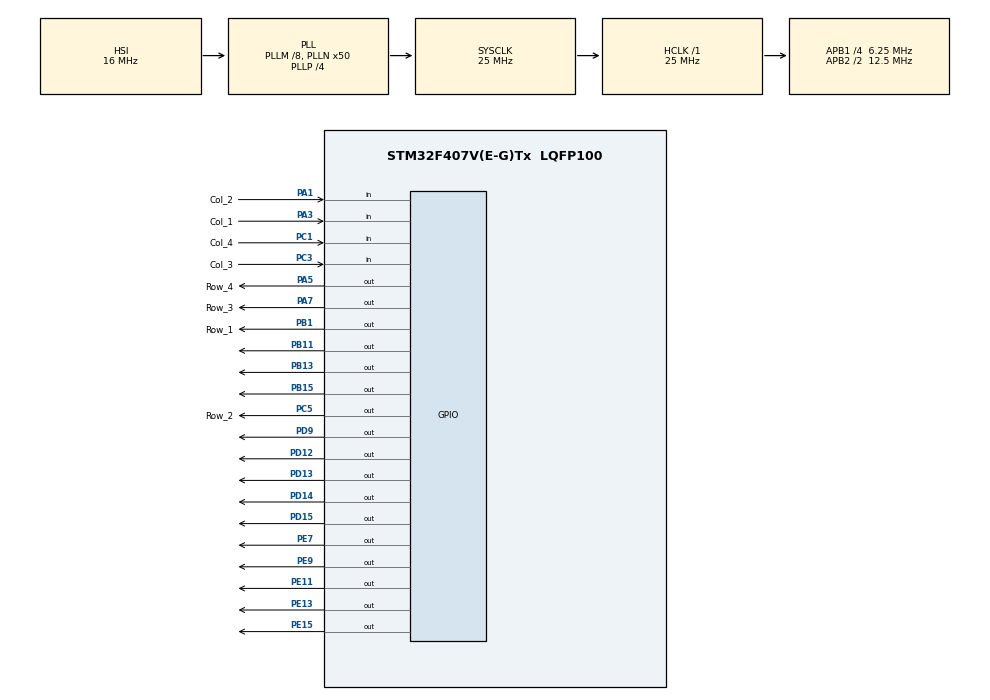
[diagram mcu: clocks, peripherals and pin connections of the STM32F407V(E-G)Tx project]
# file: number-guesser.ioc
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Mcu.Family=STM32F4
Mcu.Name=STM32F407V(E-G)Tx
Mcu.Package=LQFP100
NVIC.PriorityGroup=NVIC_PRIORITYGROUP_0
PA1.GPIO_Label=Col_2
PA1.GPIO_PuPd=GPIO_PULLDOWN
PA1.Signal=GPIO_Input
PA3.GPIO_Label=Col_1
PA3.GPIO_PuPd=GPIO_PULLDOWN
PA3.Signal=GPIO_Input
PA5.GPIO_Label=Row_4
PA5.Signal=GPIO_Output
PA7.GPIO_Label=Row_3
PA7.Signal=GPIO_Output
PB1.GPIO_Label=Row_1
PB1.Signal=GPIO_Output
PB11.Signal=GPIO_Output
PB13.Signal=GPIO_Output
PB15.Signal=GPIO_Output
PC1.GPIO_Label=Col_4
PC1.GPIO_PuPd=GPIO_PULLDOWN
PC1.Signal=GPIO_Input
PC3.GPIO_Label=Col_3
PC3.GPIO_PuPd=GPIO_PULLDOWN
PC3.Signal=GPIO_Input
PC5.GPIO_Label=Row_2
PC5.Signal=GPIO_Output
PD12.Signal=GPIO_Output
PD13.Signal=GPIO_Output
PD14.Signal=GPIO_Output
PD15.Signal=GPIO_Output
PD9.Signal=GPIO_Output
PE11.Signal=GPIO_Output
PE13.Signal=GPIO_Output
PE15.Signal=GPIO_Output
PE7.Signal=GPIO_Output
PE9.Signal=GPIO_Output
ProjectManager.HeapSize=0x200
ProjectManager.StackSize=0x400
ProjectManager.TargetToolchain=CMake
RCC.48MHZClocksFreq_Value=14285714.285714285
RCC.AHBFreq_Value=25000000
RCC.APB1CLKDivider=RCC_HCLK_DIV4
RCC.APB1Freq_Value=6250000
RCC.APB1TimFreq_Value=12500000
RCC.APB2CLKDivider=RCC_HCLK_DIV2
RCC.APB2Freq_Value=12500000
RCC.APB2TimFreq_Value=25000000
RCC.CortexFreq_Value=25000000
RCC.HCLKFreq_Value=25000000
RCC.HSE_VALUE=8000000
RCC.HSI_VALUE=16000000
RCC.LSE_VALUE=32768
RCC.PLLM=8
RCC.PLLN=50
RCC.PLLP=RCC_PLLP_DIV4
RCC.PLLQ=7
RCC.SYSCLKFreq_VALUE=25000000
RCC.SYSCLKSource=RCC_SYSCLKSOURCE_PLLCLK
RCC.VCOOutputFreq_Value=100000000
VP_RTC_VS_RTC_Activate.Mode=RTC_Enabled
board=STM32F407G-DISC1

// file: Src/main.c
/* USER CODE BEGIN Header */
/**
 ******************************************************************************
 * @file           : main.c
 * @brief          : Main program body
 ******************************************************************************
 * @attention
 *
 * Copyright (c) 2025 STMicroelectronics.
 * All rights reserved.
 *
 * This software is licensed under terms that can be found in the LICENSE file
 * in the root directory of this software component.
 * If no LICENSE file comes with this software, it is provided AS-IS.
 *
 ******************************************************************************
 */
/* USER CODE END Header */
#include "main.h"
#include "rtc.h"
#include "gpio.h"

/* USER CODE BEGIN Includes */

#include "game.h"
#include "lcd.h"
#include "dwt.h"
#include "keypad.h"

/* USER CODE END Includes */

void SystemClock_Config(void);

int main(void)
{

  /* MCU Configuration--------------------------------------------------------*/

  /* Reset of all peripherals, Initializes the Flash interface and the Systick. */
  HAL_Init();

  /* Configure the system clock */
  SystemClock_Config();

  /* Initialize all configured peripherals */
  MX_GPIO_Init();
  MX_RTC_Init();
  /* USER CODE BEGIN 2 */
  DWT_Init();
  LCD_Init();
  KEYPAD_Init();

  RTC_TimeTypeDef sTime;
  HAL_RTC_GetTime(&hrtc, &sTime, RTC_FORMAT_BIN);
  uint32_t seed = (sTime.Seconds << 16) | (sTime.Minutes << 8) | sTime.Hours;
  srand(seed);

  LCD_SendString("Initializing...");
  HAL_Delay(2025);
  LCD_Clear();  // Clear LCD before writing
  /* USER CODE END 2 */

  /* Infinite loop */
  while (1) {
    //KEYPAD_Debug();
    Game_Init();
    const game_state_t res = Game_Run(&game);
    if (res == NOT_STARTED) {
      LCD_Clear();
      LCD_SendString("Game restarting...");
      HAL_Delay(1100);
      LCD_Clear();
    }

    else if (res == GAME_OVER_WIN) {
      for (int i = 0; i < 20; i++) circleUserLED();
      continue;
    }
  }
}

void SystemClock_Config(void)
{
  RCC_OscInitTypeDef RCC_OscInitStruct = {0};
  RCC_ClkInitTypeDef RCC_ClkInitStruct = {0};

  /** Configure the main internal regulator output voltage
  */
  __HAL_RCC_PWR_CLK_ENABLE();
  __HAL_PWR_VOLTAGESCALING_CONFIG(PWR_REGULATOR_VOLTAGE_SCALE1);

  /** Initializes the RCC Oscillators according to the specified parameters
  * in the RCC_OscInitTypeDef structure.
  */
  RCC_OscInitStruct.OscillatorType = RCC_OSCILLATORTYPE_HSI|RCC_OSCILLATORTYPE_LSI;
  RCC_OscInitStruct.HSIState = RCC_HSI_ON;
  RCC_OscInitStruct.HSICalibrationValue = RCC_HSICALIBRATION_DEFAULT;
  RCC_OscInitStruct.LSIState = RCC_LSI_ON;
  RCC_OscInitStruct.PLL.PLLState = RCC_PLL_ON;
  RCC_OscInitStruct.PLL.PLLSource = RCC_PLLSOURCE_HSI;
  RCC_OscInitStruct.PLL.PLLM = 8;
  RCC_OscInitStruct.PLL.PLLN = 50;
  RCC_OscInitStruct.PLL.PLLP = RCC_PLLP_DIV4;
  RCC_OscInitStruct.PLL.PLLQ = 7;
  if (HAL_RCC_OscConfig(&RCC_OscInitStruct) != HAL_OK)
  {
    Error_Handler();
  }

  /** Initializes the CPU, AHB and APB buses clocks
  */
  RCC_ClkInitStruct.ClockType = RCC_CLOCKTYPE_HCLK|RCC_CLOCKTYPE_SYSCLK
                              |RCC_CLOCKTYPE_PCLK1|RCC_CLOCKTYPE_PCLK2;
  RCC_ClkInitStruct.SYSCLKSource = RCC_SYSCLKSOURCE_PLLCLK;
  RCC_ClkInitStruct.AHBCLKDivider = RCC_SYSCLK_DIV1;
  RCC_ClkInitStruct.APB1CLKDivider = RCC_HCLK_DIV4;
  RCC_ClkInitStruct.APB2CLKDivider = RCC_HCLK_DIV2;

  if (HAL_RCC_ClockConfig(&RCC_ClkInitStruct, FLASH_LATENCY_0) != HAL_OK)
  {
    Error_Handler();
  }
}

void Error_Handler(void)
{
  __disable_irq();
  while (1) {
  }
}

#ifdef  USE_FULL_ASSERT
/**
  * @brief  Reports the name of the source file and the source line number
  *         where the assert_param error has occurred.
  * @param  file: pointer to the source file name
  * @param  line: assert_param error line source number
  * @retval None
  */
void assert_failed(uint8_t *file, uint32_t line)
{
  /* USER CODE BEGIN 6 */
  /* User can add his own implementation to report the file name and line
     number, ex: printf("Wrong parameters value: file %s on line %d\r\n", file,
     line) */
  /* USER CODE END 6 */
}
#endif /* USE_FULL_ASSERT */
